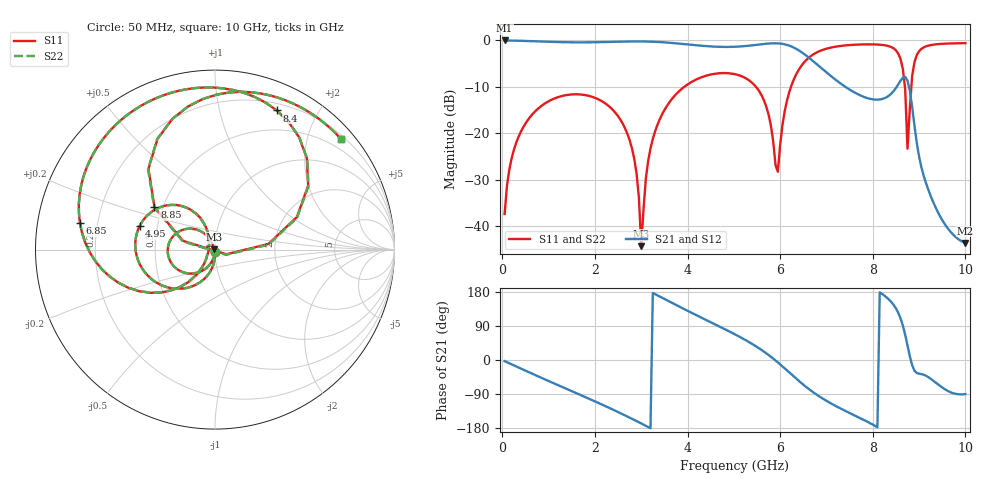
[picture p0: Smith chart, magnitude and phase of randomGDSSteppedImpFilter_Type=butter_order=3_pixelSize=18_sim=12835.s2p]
! freq	dB(S11)	phase(S11)	dB(S12)	phase(S12)
!  dB(S21)	phase(S21)	dB(S22)	phase(S22)
!S-par simulation data
#  GHz  S  DB  R 50
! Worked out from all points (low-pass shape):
!   200 points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, 50 MHz to 10 GHz, reference 50 ohm
!   highest |S21| = 0.00 dB at 50 MHz (marker M1); lowest = -43.5 dB at 10 GHz (marker M2)
!   |S21| within 3 dB of the highest: start of sweep to 6.529 GHz
!   lowest |S11| = -44.3 dB at 3 GHz (marker M3), VSWR 1.01, Z = 49.4 + j0.177 ohm
!   |S11| at or under -10 dB: start of sweep to 3.928 GHz; 5.479 GHz to 6.234 GHz (755 MHz wide, 12.9 % of centre); 8.694 GHz to 8.834 GHz (139.1 MHz wide, 1.59 % of centre)
!   |S22| runs from -44.7 to -0.6 dB; largest |S21 - S12| = 0
!   S11 on the Smith chart (normalised r, x): 50 MHz: 1.00, -0.03; 4.95 GHz: 0.40, +0.13; 6.85 GHz: 0.13, +0.10; 8.4 GHz: 0.27, +1.50; 8.85 GHz: 0.45, +0.26; 10 GHz: 0.27, +2.62
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0.05  -37.34 -92.6  -0.00 -2.9  -0.00 -2.9  -37.34 -92.6
0.5  -17.88 -118.6  -0.11 -28.1  -0.11 -28.1  -17.88 -118.6
1.75  -11.69 174.0  -0.42 -95.6  -0.42 -95.6  -11.69 173.9
2.7  -20.06 122.2  -0.23 -149.2  -0.23 -149.2  -20.06 121.9
2.9  -28.66 114.2  -0.21 -161.3  -0.21 -161.3  -28.67 113.5
3  -44.25 163.0  -0.22 -167.5  -0.22 -167.5  -44.72 161.0
3.15  -25.90 -92.4  -0.24 -176.8  -0.24 -176.8  -25.90 -91.8
3.4  -16.96 -105.0  -0.35 167.4  -0.35 167.4  -16.96 -104.7
4.95  -7.13 162.8  -1.38 72.4  -1.38 72.4  -7.13 163.0
5.05  -7.32 156.7  -1.35 66.0  -1.35 66.0  -7.32 156.9
5.65  -12.89 117.6  -0.76 22.1  -0.76 22.1  -12.88 118.1
5.95  -28.24 -163.1  -0.63 -6.3  -0.63 -6.3  -27.86 -164.2
6.2  -11.01 -132.7  -1.13 -33.1  -1.13 -33.1  -11.01 -133.1
6.7  -3.11 -178.9  -4.35 -83.9  -4.35 -83.9  -3.11 -179.1
6.85  -2.30 168.8  -5.61 -96.5  -5.61 -96.5  -2.30 168.7
8.35  -1.24 71.2  -11.87 159.5  -11.87 159.5  -1.25 71.0
8.4  -1.43 66.1  -11.44 153.0  -11.44 153.0  -1.43 65.8
8.65  -6.17 21.7  -8.01 90.6  -8.01 90.6  -6.21 21.1
8.75  -23.28 -22.2  -8.64 38.5  -8.64 38.5  -23.39 -25.6
8.85  -7.70 144.9  -14.24 -13.5  -14.24 -13.5  -7.70 145.3
9.15  -1.27 89.2  -30.70 -41.7  -30.70 -41.7  -1.28 89.4
10  -0.59 41.4  -43.55 -90.1  -43.55 -90.1  -0.59 41.5
